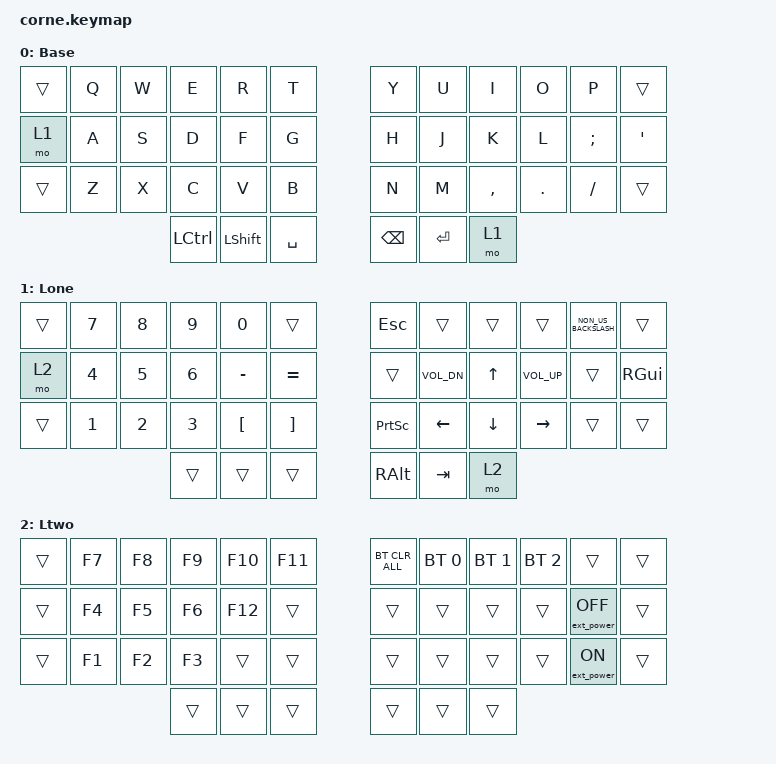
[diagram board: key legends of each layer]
/*
 * Copyright (c) 2020 The ZMK Contributors
 *
 * SPDX-License-Identifier: MIT
 */

#include <behaviors.dtsi>
#include <dt-bindings/zmk/bt.h>
#include <dt-bindings/zmk/ext_power.h>
#include <dt-bindings/zmk/keys.h>

/ {
    keymap {
        compatible = "zmk,keymap";

        default_layer {
            // -----------------------------------------------------------------------------------------
            // |  TAB |  Q  |  W  |  E  |  R  |  T  |   |  Y  |  U   |  I  |  O  |  P  | BKSP |
            // | CTRL |  A  |  S  |  D  |  F  |  G  |   |  H  |  J   |  K  |  L  |  ;  |  '   |
            // | SHFT |  Z  |  X  |  C  |  V  |  B  |   |  N  |  M   |  ,  |  .  |  /  | ESC  |
            //                    | GUI | LWR | SPC |   | ENT | RSE  | ALT |

            display-name = "Base";
            bindings = <
&trans  &kp Q  &kp W  &kp E             &kp R           &kp T        &kp Y          &kp U      &kp I      &kp O    &kp P     &trans
&mo 1   &kp A  &kp S  &kp D             &kp F           &kp G        &kp H          &kp J      &kp K      &kp L    &kp SEMI  &kp SQT
&trans  &kp Z  &kp X  &kp C             &kp V           &kp B        &kp N          &kp M      &kp COMMA  &kp DOT  &kp FSLH  &trans
                      &kp LEFT_CONTROL  &kp LEFT_SHIFT  &kp SPACE    &kp BACKSPACE  &kp ENTER  &mo 1
            >;
        };

        layer_1 {
display-name = "Lone";
            bindings = <
&trans  &kp N7  &kp N8  &kp N9  &kp N0     &trans       &kp ESCAPE       &trans        &trans          &trans           &kp NON_US_BACKSLASH  &trans
&mo 2   &kp N4  &kp N5  &kp N6  &kp MINUS  &kp EQUAL    &trans           &kp C_VOL_DN  &kp UP_ARROW    &kp C_VOLUME_UP  &trans                &kp RIGHT_GUI
&trans  &kp N1  &kp N2  &kp N3  &kp LBKT   &kp RBKT     &kp PRINTSCREEN  &kp LEFT      &kp DOWN_ARROW  &kp RIGHT        &trans                &trans
                        &trans  &trans     &trans       &kp RIGHT_ALT    &kp TAB       &mo 2
            >;
        };

        layer_2 {
display-name = "Ltwo";
            bindings = <
&trans  &kp F7  &kp F8  &kp F9  &kp F10  &kp F11    &bt BT_CLR_ALL  &bt BT_SEL 0  &bt BT_SEL 1  &bt BT_SEL 2  &trans             &trans
&trans  &kp F4  &kp F5  &kp F6  &kp F12  &trans     &trans          &trans        &trans        &trans        &ext_power EP_OFF  &trans
&trans  &kp F1  &kp F2  &kp F3  &trans   &trans     &trans          &trans        &trans        &trans        &ext_power EP_ON   &trans
                        &trans  &trans   &trans     &trans          &trans        &trans
            >;
        };
    };
};
